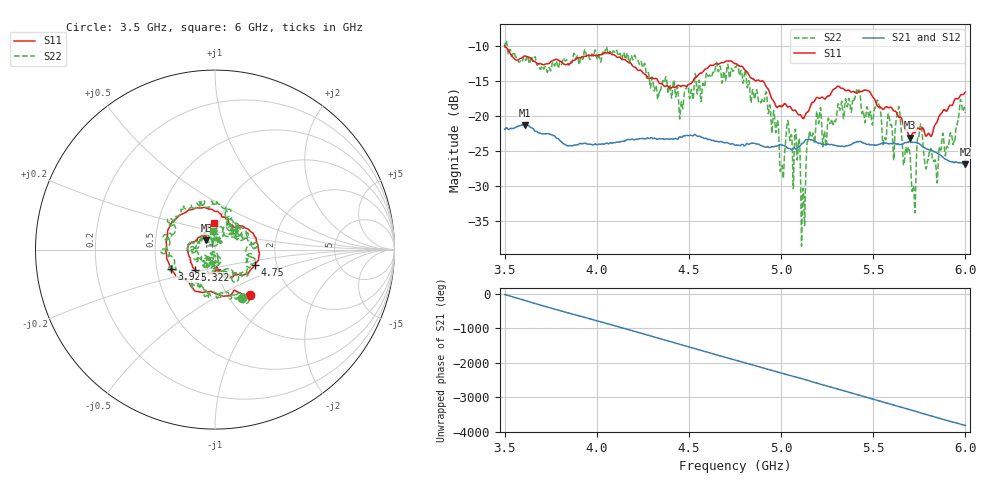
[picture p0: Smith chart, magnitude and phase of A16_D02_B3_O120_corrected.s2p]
! Created with skrf 1.9.0 (http://scikit-rf.org).
# Hz S RI R 50.0
!freq ReS11 ImS11 ReS21 ImS21 ReS12 ImS12 ReS22 ImS22
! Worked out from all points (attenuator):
!   1601 points, 3.5 GHz to 6 GHz, reference 50 ohm
!   highest |S21| = -21.24 dB at 3.611 GHz (marker M1); lowest = -26.9 dB at 6 GHz (marker M2)
!   lowest |S11| = -23.1 dB at 5.698 GHz (marker M3), VSWR 1.15, Z = 45.2 + j4.7 ohm
!   |S11| at or under -10 dB: 3.503 GHz to end of sweep
!   |S22| runs from -38.6 to -9.2 dB; largest |S21 - S12| = 0.00094
!   S11 on the Smith chart (normalised r, x): 3.5 GHz: 1.25, -0.71; 3.922 GHz: 0.60, -0.14; 4.75 GHz: 1.54, -0.28; 5.322 GHz: 0.78, -0.18; 6 GHz: 0.94, +0.29
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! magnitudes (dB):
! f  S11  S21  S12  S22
! 3.5 GHz  -9.9  -21.9  -21.8  -10.2
! 3.611 GHz  -11.4  -21.2  -21.2  -11.8
! 3.917 GHz  -11.6  -24.0  -23.9  -11.4
! 3.922 GHz  -11.5  -23.9  -23.9  -11.8
! 4.213 GHz  -13.1  -23.3  -23.3  -11.7
! 4.334 GHz  -15.1  -23.3  -23.2  -17.3
! 4.75 GHz  -12.5  -24.2  -24.1  -13.0
! 4.927 GHz  -16.0  -24.3  -24.3  -18.5
! 5.005 GHz  -18.6  -24.1  -24.1  -27.0
! 5.034 GHz  -18.7  -24.6  -24.5  -20.9
! 5.088 GHz  -19.6  -24.6  -24.5  -26.3
! 5.119 GHz  -20.3  -23.8  -23.8  -30.3
! 5.147 GHz  -19.3  -23.3  -23.3  -23.5
! 5.167 GHz  -18.1  -23.4  -23.4  -23.0
! 5.322 GHz  -15.9  -24.3  -24.2  -19.0
! 5.584 GHz  -18.8  -23.9  -23.9  -19.6
! 5.638 GHz  -20.1  -24.0  -24.0  -18.7
! 5.698 GHz  -23.1  -23.7  -23.7  -25.1
! 5.719 GHz  -22.4  -23.7  -23.7  -30.1
! 5.752 GHz  -21.9  -24.0  -23.9  -21.8
! 5.841 GHz  -21.1  -25.2  -25.1  -27.3
! 6 GHz  -16.6  -26.9  -26.8  -19.5
